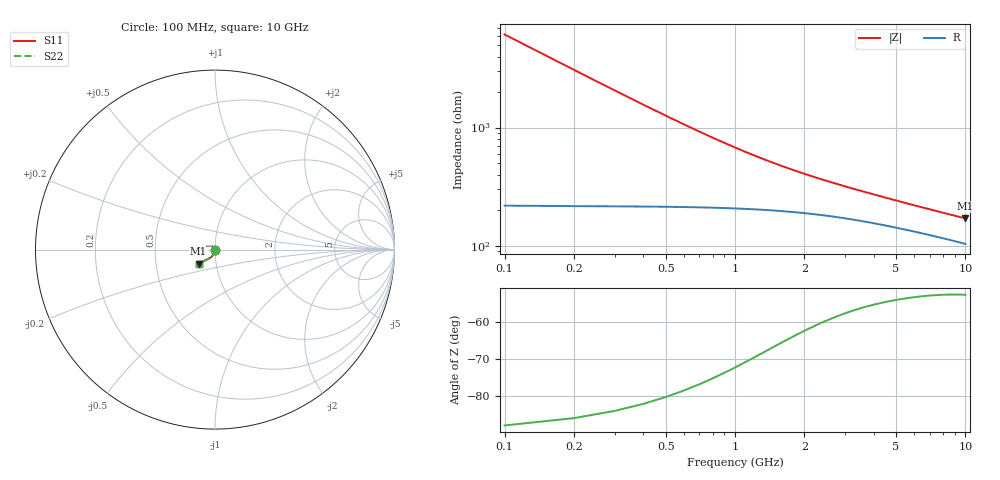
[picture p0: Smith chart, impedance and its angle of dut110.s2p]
! Touchstone file exported from HFSS 2024.1.0
!  File:  C:/UserFiles/LocalFiles/RDL_TSV_Batchsim/temp_TSV1_110_1778752516.aedt
!  Generated:  05:59:03 PM May 14, 2026
!  Design:  TSV1
!  Project:  temp_TSV1_110_1778752516
!  Setup:  Setup1
!  Solution:  Sweep
! Variables:
!  dtsv = 26.13um
!  hbump = 3um
!  htsv = 81.9um
!  lrdl = 252.1521522um
!  p = 40
!  p1 = 58.84um
!  t = 500um
!  trdl = 3um
!  wrdl = 24.89489489um
# GHz S MA R 50.000000
! Terminal data exported
! Port[1] = TSV22_T1
! Port[2] = TSV22_T2
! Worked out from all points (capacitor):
!   100 points, 100 MHz to 10 GHz, reference 50 ohm
!   read as one part in shunt: C = 259 fF near 100 MHz
!   lowest |Z| = 170 ohm at 10 GHz (marker M1)
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0.1  0.003787 -91.2  0.9998 -0.2  0.9998 -0.2  0.003787 -91.2
! Gamma 0 0 0 0
! Port Impedance 50 0 50 0
0.2  0.007546 -94.0  0.9993 -0.5  0.9993 -0.5  0.007546 -94.0
0.3  0.01125 -96.3  0.9985 -0.7  0.9985 -0.7  0.01125 -96.3
0.4  0.01488 -98.6  0.9975 -1.0  0.9975 -1.0  0.01488 -98.6
0.5  0.01842 -100.8  0.9962 -1.2  0.9962 -1.2  0.01842 -100.8
0.6  0.02184 -102.8  0.9948 -1.4  0.9948 -1.4  0.02184 -102.8
0.7  0.02513 -104.8  0.9932 -1.6  0.9932 -1.6  0.02513 -104.8
0.8  0.02829 -106.7  0.9915 -1.8  0.9915 -1.8  0.02829 -106.7
0.9  0.0313 -108.5  0.9897 -2.0  0.9897 -2.0  0.0313 -108.5
1.1  0.03691 -111.8  0.986 -2.3  0.986 -2.3  0.03691 -111.8
1.4  0.0443 -116.0  0.9805 -2.7  0.9805 -2.7  0.0443 -116.0
1.6  0.04862 -118.4  0.977 -2.9  0.977 -2.9  0.04862 -118.4
1.8  0.05252 -120.5  0.9737 -3.1  0.9737 -3.1  0.05252 -120.5
2.1  0.05772 -123.2  0.969 -3.4  0.969 -3.4  0.05772 -123.2
2.5  0.06372 -125.9  0.9635 -3.7  0.9635 -3.7  0.06372 -125.9
2.9  0.06893 -128.0  0.9585 -3.9  0.9585 -3.9  0.06893 -128.0
3.4  0.07469 -130.1  0.9531 -4.3  0.9531 -4.3  0.07469 -130.1
4.2  0.08268 -132.5  0.9458 -4.7  0.9458 -4.7  0.08268 -132.5
5.1  0.09043 -134.4  0.9388 -5.2  0.9388 -5.2  0.09043 -134.4
6.7  0.102 -136.7  0.9286 -5.9  0.9286 -5.9  0.102 -136.7
8.4  0.1121 -138.3  0.9199 -6.7  0.9199 -6.7  0.1121 -138.3
10  0.1203 -139.4  0.9132 -7.3  0.9132 -7.3  0.1203 -139.4
